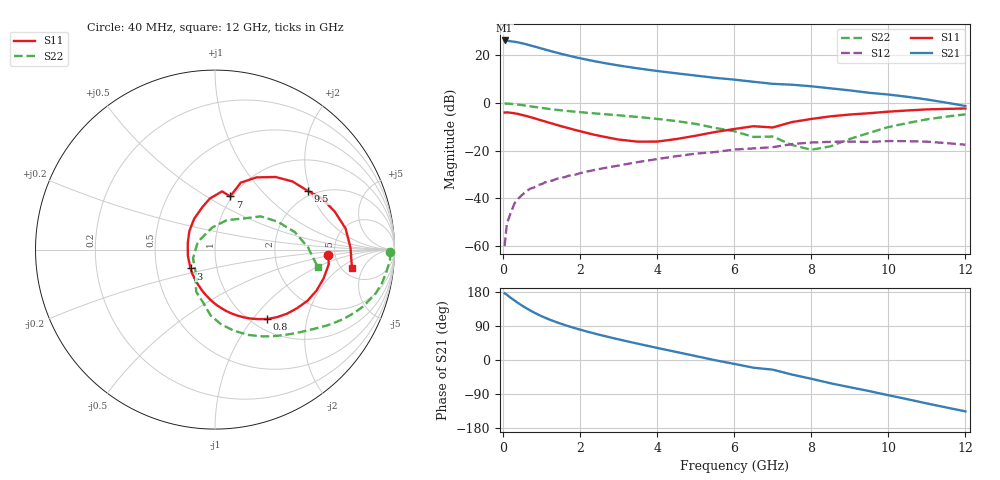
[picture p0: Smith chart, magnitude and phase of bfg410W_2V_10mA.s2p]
! Filename: 210bfg410.001
! BFG410W Field B1
! V1=8.768E-001V,V2=2.000E+000V, I1=1.561E-004A, I2=1.001E-002A
# GHz  S  MA  R 50
!  S11  S21  S12  S22
!Freq(GHz)  Mag  Ang  Mag  Ang  Mag  Ang  Mag  Ang
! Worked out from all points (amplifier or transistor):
!   44 points, 40 MHz to 12 GHz, reference 50 ohm
!   highest |S21| = 26.3 dB at 40 MHz (marker M1)
!   |S21| within 3 dB of that: start of sweep to 916.8 MHz
!   unconditionally stable (mu >= 1): start of sweep to 41.4 MHz; 1.838 GHz to end of sweep
!   at 700 MHz: K = 0.51, MSG = 30.1 dB, |S12| = -35.9 dB
!   at 2.4 GHz: K = 1.11, MAG = 20.7 dB, |S12| = -28.0 dB
!   at 12 GHz: K = 1.52, MAG = 3.9 dB, |S12| = -17.5 dB
!   S11 on the Smith chart (normalised r, x): 40 MHz: 4.40, -0.45; 800 MHz: 1.17, -1.19; 3 GHz: 0.75, -0.16; 7 GHz: 0.98, +0.64; 9.5 GHz: 1.84, +1.92; 12 GHz: 6.12, -3.07
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0.04  0.633 -2.8  20.55 176.2  0.001 59.0  0.975 -0.8
0.1  0.639 -7.4  20.23 171.9  0.003 88.4  0.977 -3.4
0.2  0.626 -14.8  19.75 164.0  0.005 81.5  0.962 -7.8
0.3  0.61 -22.0  19.27 156.9  0.008 79.1  0.949 -11.4
0.4  0.589 -28.9  18.63 149.7  0.01 75.2  0.929 -15.1
0.5  0.562 -35.5  17.89 143.0  0.012 71.7  0.905 -18.1
0.6  0.537 -41.7  17.1 136.8  0.014 69.5  0.884 -21.0
0.8  0.484 -53.0  15.45 125.5  0.017 65.0  0.835 -26.1
1.1  0.409 -67.2  13.21 111.2  0.022 60.8  0.772 -32.3
1.4  0.348 -79.6  11.36 99.3  0.026 58.2  0.719 -37.4
1.8  0.283 -94.7  9.452 86.0  0.031 55.7  0.667 -43.3
2.2  0.234 -109.2  8.045 74.5  0.037 53.3  0.625 -49.1
3  0.172 -142.5  6.143 54.4  0.049 47.6  0.554 -60.8
3.5  0.155 -167.3  5.336 43.0  0.058 42.9  0.511 -68.5
4.5  0.176 144.2  4.203 21.1  0.077 30.8  0.419 -85.2
5.5  0.247 106.5  3.383 -0.5  0.094 15.8  0.301 -102.9
6.5  0.327 83.0  2.796 -20.4  0.112 1.7  0.195 -123.8
7  0.308 74.1  2.531 -25.5  0.119 5.6  0.199 -119.8
8.5  0.527 50.1  2.037 -61.4  0.154 -32.2  0.124 97.1
9.5  0.612 32.2  1.643 -81.9  0.153 -51.8  0.237 47.0
10.5  0.7 17.6  1.352 -103.6  0.159 -72.3  0.382 24.1
12  0.77 -7.6  0.868 -135.6  0.134 -109.8  0.58 -9.6
